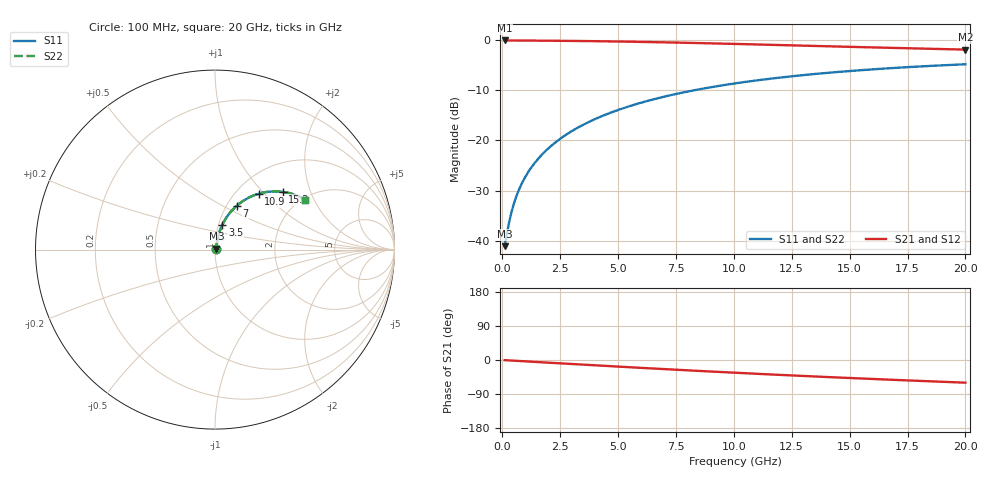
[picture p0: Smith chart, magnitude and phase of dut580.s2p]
! Touchstone file exported from HFSS 2026.1.0
!  File:  C:/ffzhzh/LocalFiles/Ansys_Project_Files/temp_train_BSMRDL_580_1783015680_51716.aedt
!  Generated:  02:09:35 AM Jul  3, 2026
!  Design:  BSMRDL
!  Project:  temp_train_BSMRDL_580_1783015680_51716
! Variables:
!  h_bsmrdl = 2.2um
!  h_ox = 20um
!  h_rdl = 5um
!  h_sub = 80um
!  h_tmrdl = 5um
!  h_tsv = 80um
!  h_via = 3um
!  l_bsmrdl = 879.05um
!  l_sub = 1279.05um
!  l_tmrdl = 200um
!  m_sub = 200um
!  pitch = 54.69um
!  r_tsv = 6um
!  s_tmrdl = 10um
!  w_bsmrdl = 18.83um
!  w_sub = 500um
!  w_tmrdl = 12um
!  x_tsv_center1 = 206um
!  x_tsv_center2 = 1103.88um
!  x_tsv_center3 = 1315.88um
!  x_tsv_center4 = 2213.76um
!  x_tsv_center5 = 2425.76um
!  x_tsv_center6 = 3323.64um
# GHz S MA R 50.000000
! Terminal data exported
! Port[1] = BSM_RDL1_1_T1
! Port[2] = BSM_RDL1_1_T2
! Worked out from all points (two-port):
!   200 points, 100 MHz to 20 GHz, reference 50 ohm
!   highest |S21| = -0.07 dB at 100 MHz (marker M1); lowest = -1.9 dB at 20 GHz (marker M2)
!   |S21| within 3 dB of the highest: start of sweep to end of sweep
!   lowest |S11| = -41.1 dB at 100 MHz (marker M3), VSWR 1.02, Z = 50.8 + j0.45 ohm
!   |S11| at or under -10 dB: start of sweep to 8.281 GHz
!   |S22| runs from -41.1 to -4.8 dB; largest |S21 - S12| = 3.1e-15
!   S11 on the Smith chart (normalised r, x): 100 MHz: 1.02, +0.01; 3.5 GHz: 1.04, +0.29; 7 GHz: 1.11, +0.59; 10.9 GHz: 1.26, +0.93; 15.2 GHz: 1.54, +1.31; 20 GHz: 2.08, +1.71
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0.1  0.008845 30.1  0.9924 -0.4  0.9924 -0.4  0.008845 30.1
! Gamma 0 0 0 0
! Port Impedance 50 0 50 0
0.3  0.0155 58.1  0.992 -1.1  0.992 -1.1  0.01549 58.1
0.4  0.01942 63.8  0.9917 -1.5  0.9917 -1.5  0.01942 63.8
0.5  0.02343 67.3  0.9914 -1.8  0.9914 -1.8  0.02343 67.3
0.6  0.02747 69.7  0.9911 -2.2  0.9911 -2.2  0.02747 69.7
0.8  0.03554 72.6  0.9905 -2.9  0.9905 -2.9  0.03554 72.6
1.1  0.04762 74.8  0.9896 -4.0  0.9896 -4.0  0.04762 74.8
1.6  0.06776 76.1  0.9881 -5.7  0.9881 -5.7  0.06776 76.1
2.1  0.08789 76.1  0.9863 -7.5  0.9863 -7.5  0.08789 76.1
2.7  0.1119 75.3  0.9837 -9.5  0.9837 -9.5  0.1119 75.3
3.5  0.1436 73.5  0.9794 -12.3  0.9794 -12.3  0.1436 73.6
4.2  0.1709 71.7  0.9748 -14.7  0.9748 -14.7  0.1709 71.8
5  0.2013 69.5  0.9688 -17.4  0.9688 -17.4  0.2013 69.5
6.8  0.2665 64.1  0.9526 -23.4  0.9526 -23.4  0.2665 64.2
7  0.2735 63.5  0.9506 -24.1  0.9506 -24.1  0.2735 63.6
8.5  0.3233 59.0  0.9346 -28.8  0.9346 -28.8  0.3232 59.1
10.1  0.3719 54.3  0.9161 -33.8  0.9161 -33.8  0.3719 54.4
10.9  0.3945 52.0  0.9065 -36.1  0.9065 -36.1  0.3945 52.1
13.4  0.4575 45.1  0.8762 -43.2  0.8762 -43.2  0.4575 45.2
15.2  0.4961 40.3  0.855 -48.1  0.855 -48.1  0.4961 40.5
16.7  0.5243 36.6  0.8381 -51.9  0.8381 -51.9  0.5242 36.8
20  0.5746 28.8  0.8048 -59.8  0.8048 -59.8  0.5746 29.0
